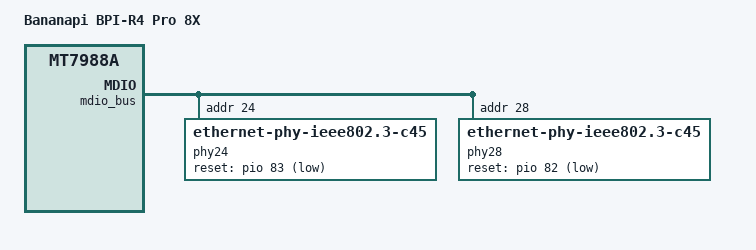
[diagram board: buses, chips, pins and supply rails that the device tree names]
// SPDX-License-Identifier: (GPL-2.0 OR MIT)
/*
 * Copyright (C) 2025 MediaTek Inc.
 * Author: Frank Wunderlich <frank-w@public-files.de>
 */

/dts-v1/;

#include "mt7988a-bananapi-bpi-r4-pro.dtsi"

/ {
	model = "Bananapi BPI-R4 Pro 8X";
	compatible = "bananapi,bpi-r4-pro-8x",
		     "bananapi,bpi-r4-pro",
		     "mediatek,mt7988a";
};

&gmac1 {
	openwrt,netdev-name = "wan";
};

&switch16 {
	ports {
		port@13 {
			reg = <13>;
			label = "lan6";
			status = "disabled";
		};
	};
};

&mdio_bus {
	/* external Aeonsemi AS2101x connected to MXL switch */

	phy24: ethernet-phy@24 {
		reg = <24>;
		compatible = "ethernet-phy-ieee802.3-c45";
		reset-gpios = <&pio 83 GPIO_ACTIVE_LOW>;
		reset-assert-us = <1000000>;
		reset-deassert-us = <1000000>;
		firmware-name = "as21x1x_fw.bin";

		leds {
			#address-cells = <1>;
			#size-cells = <0>;

			led@0 {
				reg = <0>;
				linux,default-trigger = "netdev";
				color = <LED_COLOR_ID_GREEN>;
				function = LED_FUNCTION_LAN;
				active-high;
			};

			led@1 {
				reg = <1>;
				linux,default-trigger = "netdev";
				color = <LED_COLOR_ID_YELLOW>;
				function = LED_FUNCTION_LAN;
				active-high;
			};
		};
	};

	/* external Aeonsemi AS2101x connected to eth-mux on gmac1 */
	phy28: ethernet-phy@28 {
		reg = <28>;
		compatible = "ethernet-phy-ieee802.3-c45";
		reset-gpios = <&pio 82 GPIO_ACTIVE_LOW>;
		reset-assert-us = <1000000>;
		reset-deassert-us = <1000000>;
		firmware-name = "as21x1x_fw.bin";

		leds {
			#address-cells = <1>;
			#size-cells = <0>;

			led@0 {
				reg = <0>;
				linux,default-trigger = "netdev";
				color = <LED_COLOR_ID_GREEN>;
				function = LED_FUNCTION_WAN;
				active-high;
			};

			led@1 {
				reg = <1>;
				linux,default-trigger = "netdev";
				color = <LED_COLOR_ID_YELLOW>;
				function = LED_FUNCTION_WAN;
				active-high;
			};
		};
	};
};
